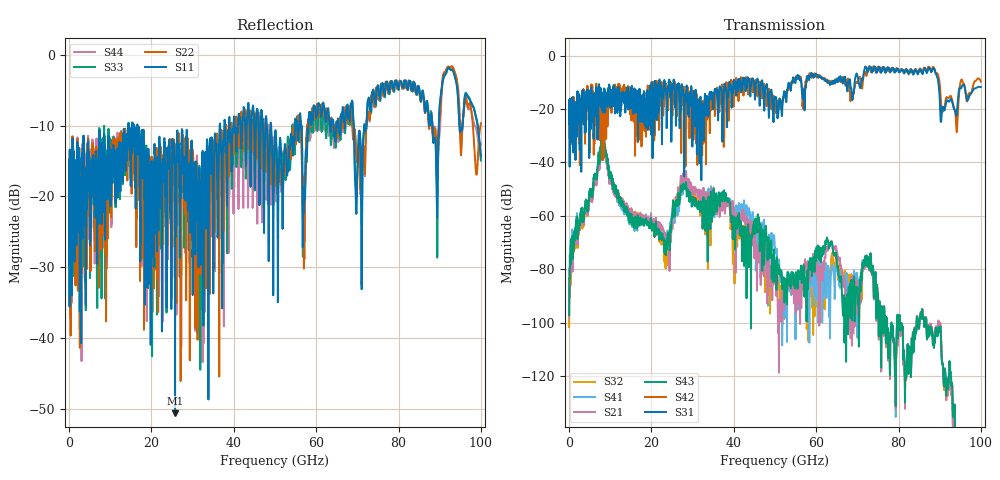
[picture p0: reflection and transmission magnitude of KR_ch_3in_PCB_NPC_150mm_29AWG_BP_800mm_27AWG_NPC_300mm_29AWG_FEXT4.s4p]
# GHz S RI R 45
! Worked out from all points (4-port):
!   4000 points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, 25 MHz to 100 GHz, reference 45 ohm
!   strongest paths, dB at 25 MHz, 25.02 GHz, 50.02 GHz, 75.03 GHz, 100 GHz:
!     S31: -21.2, -12.2, -15.8, -5.1, -11.8
!     S42: -21.3, -17.5, -18.0, -4.3, -9.8
!     S43: -97.2, -60.3, -84.5, -90.5, -172.4
!     S21: -98.2, -63.1, -85.0, -90.8, -173.1
!     S41: -91.9, -60.7, -72.7, -90.8, -172.5
!     S32: -101.7, -60.2, -84.2, -90.4, -171.2
!   lowest |S11| = -50.6 dB at 25.75 GHz (marker M1), VSWR 1.01, Z = 45.1 - j0.251 ohm
!   |S11| at or under -10 dB: start of sweep to 14.35 GHz; 16.58 GHz to 36.61 GHz (20.03 GHz wide, 75.3 % of centre); 49.07 GHz to 54.89 GHz (5.819 GHz wide, 11.2 % of centre)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
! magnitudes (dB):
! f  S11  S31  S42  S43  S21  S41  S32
! 25 MHz  -16.5  -21.2  -21.3  -97.2  -98.2  -91.9  -101.7
! 8.225 GHz  -16.5  -21.4  -19.8  -28.0  -31.6  -29.9  -29.4
! 23.4 GHz  -20.0  -13.6  -11.5  -71.1  -67.8  -68.4  -74.3
! 25.75 GHz  -50.6  -19.5  -11.4  -59.5  -60.7  -61.2  -58.2
! 37.83 GHz  -9.3  -10.7  -14.3  -54.2  -58.3  -56.1  -54.9
! 48.95 GHz  -9.6  -13.9  -18.5  -71.2  -86.7  -74.6  -82.9
! 100 GHz  -14.4  -11.8  -9.8  -172.4  -173.1  -172.5  -171.2
